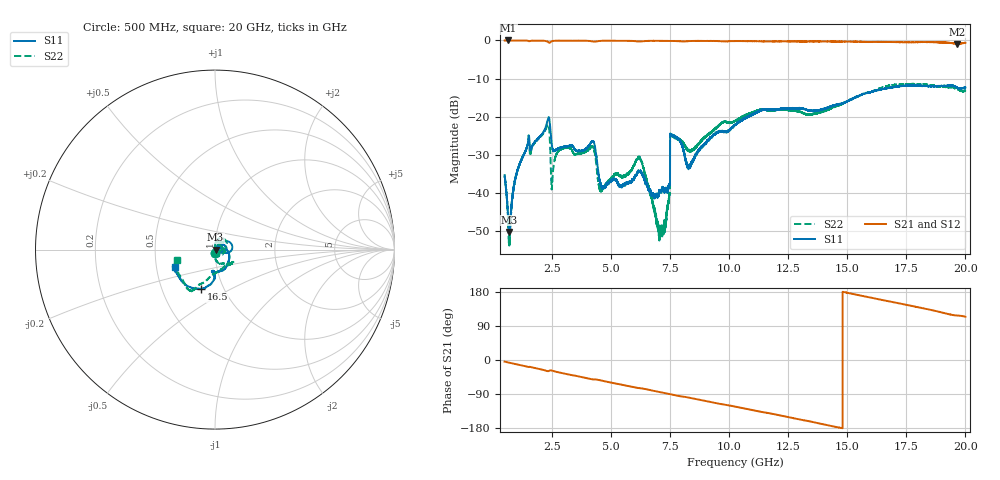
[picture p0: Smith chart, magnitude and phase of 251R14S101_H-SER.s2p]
!{251R14S101}
!Johanson Technology Inc.
!www.johansontechnology.com
!Test Board Conditions:
!Substrate Type  RO4350B
!Substrate Thickness  20 mil
!Substrate Dk  3.66
!TL Type: GCPW
!TL Trace Width  36 mil
!TL Gap  12 mil
!Electrode orientation  Horizontal
!DUT TOPOLOGY	SERIES
!Mounting Pad LxW  26x36 mil
! Created Wed Mar 11 15:49:26 2020
# mhz S ma R 50
! 2 Port Network Data from SP1.SP block
! freq  magS11  angS11  magS21  angS21  magS12  angS12  magS22  angS22
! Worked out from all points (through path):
!   19501 points, 500 MHz to 20 GHz, reference 50 ohm
!   highest |S21| = 0.00 dB at 658 MHz (marker M1); lowest = -0.9 dB at 19.66 GHz (marker M2)
!   group delay of S21, straight-line fit = 34.3 ps
!   lowest |S11| = -50.3 dB at 699 MHz (marker M3), VSWR 1.01, Z = 50.3 - j0.0698 ohm
!   |S11| at or under -10 dB: start of sweep to end of sweep
!   |S22| runs from -54.1 to -11.4 dB; largest |S21 - S12| = 0.019
!   S11 on the Smith chart (normalised r, x): 500 MHz: 1.00, -0.03; 16.5 GHz: 0.78, -0.36; 20 GHz: 0.63, -0.13
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500  0.017 -87.4  0.9983 -4.2  0.9977 -4.1  0.01687 -96.8
658  0.004168 -54.2  0.9999 -6.6  0.998 -6.6  0.003766 -128.1
699  0.00305 -13.1  0.9989 -7.2  0.9985 -7.1  0.00202 177.1
929  0.01405 59.5  0.9983 -10.3  0.9978 -10.4  0.0138 95.9
1173  0.02547 60.4  0.9979 -13.6  0.9969 -13.6  0.02546 88.7
2320  0.08994 28.8  0.9648 -29.4  0.9644 -29.4  0.07762 51.5
2537  0.03685 -2.7  0.9838 -28.6  0.9836 -28.6  0.0174 80.5
2873  0.03917 19.8  0.9946 -33.7  0.9938 -33.7  0.03689 85.4
3750  0.03578 18.0  0.9925 -44.8  0.9931 -44.9  0.03313 61.8
4253  0.04692 -7.8  0.9647 -51.2  0.9658 -51.2  0.03931 -0.4
4605  0.01193 -2.6  0.9881 -54.3  0.9881 -54.3  0.01074 -5.7
6221  0.01897 -72.3  0.97 -74.3  0.9703 -74.3  0.02868 -76.8
7000  0.009229 -95.2  0.9882 -83.8  0.9892 -83.8  0.003423 -125.5
7375  0.01049 -60.4  0.9888 -88.5  0.9884 -88.5  0.005625 -39.6
7598  0.05735 -7.3  0.9849 -91.4  0.9863 -91.4  0.05589 -11.0
8302  0.02214 6.4  0.9805 -99.3  0.9794 -99.2  0.03534 -74.1
10250  0.07743 -11.5  0.9815 -123.0  0.9811 -122.9  0.08756 -62.4
13500  0.1188 -96.4  0.9715 -163.1  0.9753 -163.2  0.1075 -59.5
16503  0.231 -109.3  0.9551 158.1  0.9525 157.9  0.2417 -116.7
16750  0.2373 -113.9  0.9542 155.0  0.9496 154.7  0.2546 -117.6
19655  0.238 -160.0  0.9004 117.2  0.8995 117.7  0.2284 -162.3
20000  0.2403 -156.4  0.9312 114.1  0.9316 114.3  0.2193 -165.1
